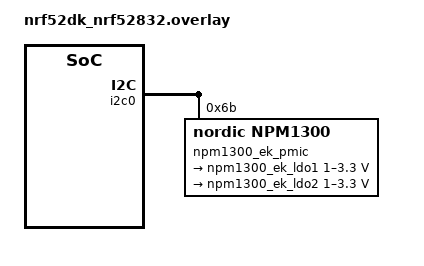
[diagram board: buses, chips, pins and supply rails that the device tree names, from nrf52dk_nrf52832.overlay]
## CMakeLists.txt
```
# Copyright (c) 2023 Nordic Semiconductor ASA
# SPDX-License-Identifier: LicenseRef-Nordic-5-Clause

cmake_minimum_required(VERSION 3.20.0)

list(APPEND BOARD_ROOT ${CMAKE_CURRENT_SOURCE_DIR})

set(SHIELD npm1300_ek)

find_package(Zephyr REQUIRED HINTS $ENV{ZEPHYR_BASE})

project(npm1300)

add_subdirectory(src)
```

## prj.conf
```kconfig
# Copyright (c) 2023 Nordic Semiconductor ASA
# SPDX-License-Identifier: LicenseRef-Nordic-5-Clause

CONFIG_SHELL=y
CONFIG_LOG=y
CONFIG_LOG_CMDS=y
CONFIG_GPIO=y
CONFIG_REGULATOR=y
CONFIG_SENSOR=y
CONFIG_I2C_SHELL=y
CONFIG_NRF_FUEL_GAUGE=y
CONFIG_REQUIRES_FLOAT_PRINTF=y
CONFIG_MAIN_STACK_SIZE=1536


CONFIG_CLOCK_CONTROL_NRF_K32SRC_RC=y



CONFIG_GPIO=y
CONFIG_I2C=y
CONFIG_USE_SEGGER_RTT=y
CONFIG_CONSOLE=y
CONFIG_PRINTK=y
CONFIG_LOG=y
CONFIG_PINCTRL=y
CONFIG_DK_LIBRARY=y



CONFIG_I2C=y
CONFIG_I2C_NRFX=y
```

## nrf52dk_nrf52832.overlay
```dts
/*
 * Copyright (c) 2023 Nordic Semiconductor ASA
 *
 * SPDX-License-Identifier: LicenseRef-Nordic-5-Clause
 */


// &i2c0_default {
// 	group1 {
// 		bias-pull-up;
// 	};
// };

// &npm1300_ek_pmic {
// 	host-int-gpios = <&gpio0 22 0>;
// 	pmic-int-pin = <3>;
// };


#include <dt-bindings/regulator/npm1300.h>
#include <zephyr/dt-bindings/input/input-event-codes.h>


&pinctrl {
    i2c0_default: i2c0_default {
        group1 {
            
            psels = <NRF_PSEL(TWIM_SDA, 0, 26)>, <NRF_PSEL(TWIM_SCL, 0, 27)>;
            bias-pull-up;
        };
    };

    i2c0_sleep: i2c0_sleep {
        group1 {
            
            psels = <NRF_PSEL(TWIM_SDA, 0, 26)>, <NRF_PSEL(TWIM_SCL, 0, 27)>;
            
            bias-pull-up;
        };
    };

};


/ {
    pwmleds {
        /delete-node/ pwm_led_0;
    };

    leds {
        /delete-node/ led_0;
        /delete-node/ led_1;
        /delete-node/ led_2;
        /delete-node/ led_3;
    };


    buttons {
        /delete-node/ button_0;
        /delete-node/ button_1;
        /delete-node/ button_2;
        /delete-node/ button_3;
    };

    aliases {
		/delete-property/ sw0;
        /delete-property/ sw1;
        /delete-property/ sw2;
        /delete-property/ sw3;
        /delete-property/ led0;
        /delete-property/ led1;
        /delete-property/ led2;
        /delete-property/ led3;
        /delete-property/ pwm-led0;
        /delete-property/ bootloader-led0;
        /delete-property/ mcuboot-button0;
        /delete-property/ mcuboot-led0;
        /delete-property/ spi-flash0;
        
    };

};

&spi1 {
	status = "disabled";
};

&spi2 {
	status = "disabled";
};


&i2c0 {
	npm1300_ek_pmic: pmic@6b {
		compatible = "nordic,npm1300";
		reg = <0x6b>;

		npm1300_ek_gpio: gpio-controller {
			compatible = "nordic,npm1300-gpio";
			gpio-controller;
			#gpio-cells = <2>;
			ngpios = <5>;
		};

		npm1300_ek_regulators: regulators {
			compatible = "nordic,npm1300-regulator";

			npm1300_ek_buck1: BUCK1 {
				// regulator-init-microvolt = <2700000>;
				regulator-init-microvolt= <3300000>;
			};

			npm1300_ek_buck2: BUCK2 {
				regulator-init-microvolt = <1800000>;
			};

			npm1300_ek_ldo1: LDO1 {
				regulator-min-microvolt = <1000000>;
				regulator-max-microvolt = <3300000>;
				regulator-initial-mode = <NPM1300_LDSW_MODE_LDO>;
				enable-gpios = <&npm1300_ek_gpio 2 GPIO_ACTIVE_LOW>;
			};

			npm1300_ek_ldo2: LDO2 {
				regulator-min-microvolt = <1000000>;
				regulator-max-microvolt = <3300000>;
				regulator-initial-mode = <NPM1300_LDSW_MODE_LDSW>;
				enable-gpios = <&npm1300_ek_gpio 2 GPIO_ACTIVE_LOW>;
			};
		};

		npm1300_ek_charger: charger {
			compatible = "nordic,npm1300-charger";
			term-microvolt = <4200000>;
			term-warm-microvolt = <4000000>;
			current-microamp = <150000>;
			dischg-limit-microamp = <1000000>;
			vbus-limit-microamp = <500000>;
			thermistor-ohms = <10000>;
			thermistor-beta = <3380>;
			charging-enable;
		};

		npm1300_ek_buttons: buttons {
			compatible = "gpio-keys";
			pmic_button0: pmic_button_0 {
				gpios = < &npm1300_ek_gpio 0 GPIO_ACTIVE_HIGH>;
				label = "Pmic button switch 0";
			zephyr,code = <INPUT_KEY_0>;
			};
		};

		npm1300_ek_leds: leds {
			compatible = "nordic,npm1300-led";
			nordic,led0-mode = "error";
			nordic,led1-mode = "charging";
			nordic,led2-mode = "host";
		};
	};
};
```

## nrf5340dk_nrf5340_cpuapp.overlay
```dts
/*
 * Copyright (c) 2023 Nordic Semiconductor ASA
 *
 * SPDX-License-Identifier: LicenseRef-Nordic-5-Clause
 */

// &i2c1_default {
// 	group1 {
// 		bias-pull-up;
// 	};
// };

// &npm1300_ek_pmic {
// 	host-int-gpios = <&gpio1 12 0>;
// 	pmic-int-pin = <3>;
// };

#include <dt-bindings/regulator/npm1300.h>
#include <zephyr/dt-bindings/input/input-event-codes.h>

/ {
    pwmleds {
        /delete-node/ pwm_led_0;
    };

    leds {
        /delete-node/ led_0;
        /delete-node/ led_1;
        /delete-node/ led_2;
        /delete-node/ led_3;
    };


    buttons {
        /delete-node/ button_0;
        /delete-node/ button_1;
        /delete-node/ button_2;
        /delete-node/ button_3;
    };

    aliases {
		/delete-property/ sw0;
        /delete-property/ sw1;
        /delete-property/ sw2;
        /delete-property/ sw3;
        /delete-property/ led0;
        /delete-property/ led1;
        /delete-property/ led2;
        /delete-property/ led3;
        /delete-property/ pwm-led0;
        /delete-property/ bootloader-led0;
        /delete-property/ mcuboot-button0;
        /delete-property/ mcuboot-led0;
        /delete-property/ spi-flash0;
        
    };

};

&uart0 {
    status = "disabled";
};

&qspi {
    status = "disabled";
};

&spi4 {
    status = "disabled";
};


&pinctrl {
    i2c1_default: i2c1_default {
        group1 {
            // psels = <NRF_PSEL(TWIM_SDA, 1, 2)>, <NRF_PSEL(TWIM_SCL, 1, 3)>;
            psels = <NRF_PSEL(TWIM_SDA, 1, 4)>, <NRF_PSEL(TWIM_SCL, 1, 5)>;
            bias-pull-up;
        };
    };

    i2c1_sleep: i2c1_sleep {
        group1 {
            // psels = <NRF_PSEL(TWIM_SDA, 1, 2)>, <NRF_PSEL(TWIM_SCL, 1, 3)>;
            psels = <NRF_PSEL(TWIM_SDA, 1, 4)>, <NRF_PSEL(TWIM_SCL, 1, 5)>;
            
            bias-pull-up;
        };
    };

};


&i2c1 {
    status = "okay";
    compatible = "nordic,nrf-twim";
    clock-frequency = <I2C_BITRATE_FAST>;
    pinctrl-0 = <&i2c1_default>;
    pinctrl-1 = <&i2c1_sleep>;
    pinctrl-names = "default", "sleep";

    npm1300_ek_pmic: pmic@6b {
        compatible = "nordic,npm1300";
        reg = <0x6b>;
        host-int-gpios = <&gpio0 22 0>;
        pmic-int-pin = <3>;

        npm1300_ek_gpio: gpio-controller {
            compatible = "nordic,npm1300-gpio";
            gpio-controller;
            #gpio-cells = <2>;
            ngpios = <5>;
        };

        npm1300_ek_regulators: regulators {
            compatible = "nordic,npm1300-regulator";
            dvs-gpios = <&gpio0 17 GPIO_ACTIVE_LOW>,
                        <&gpio0 18 GPIO_ACTIVE_LOW>;

            npm1300_ek_buck1: BUCK1 {
                regulator-init-microvolt = <2400000>;
                // regulator-min-microvolt = <1800000>;
                // regulator-max-microvolt = <3300000>;
            };

            npm1300_ek_buck2: BUCK2 {
                // regulator-init-microvolt = <1800000>;
                // retention-microvolt = <2500000>;
                regulator-min-microvolt = <1000000>;
                regulator-max-microvolt = <3300000>;
                regulator-init-microvolt = <2400000>;
                regulator-always-on;
                regulator-boot-on;
                enable-gpios = <&npm1300_ek_gpio 1 GPIO_ACTIVE_LOW>;
                retention-gpios = <&npm1300_ek_gpio 2 GPIO_ACTIVE_HIGH>;
                pwm-gpios = <&npm1300_ek_gpio 2 GPIO_ACTIVE_LOW>;
                // regulator-always-on;
                // regulator-boot-on;
            };

            npm1300_ek_ldo1: LDO1 {
                // regulator-min-microvolt = <1000000>;
                // regulator-max-microvolt = <3300000>;
                regulator-initial-mode = <NPM1300_LDSW_MODE_LDO>;
                enable-gpios = <&npm1300_ek_gpio 2 GPIO_ACTIVE_LOW>;
            };

            npm1300_ek_ldo2: LDO2 {
                // regulator-min-microvolt = <1000000>;
                // regulator-max-microvolt = <3300000>;
                regulator-min-microvolt = <1800000>;
                regulator-max-microvolt = <3300000>;
                regulator-init-microvolt = <1800000>;
                // regulator-initial-mode = <NPM1300_LDSW_MODE_LDSW>;
                regulator-initial-mode = <NPM1300_LDSW_MODE_LDO>;
                enable-gpios = <&npm1300_ek_gpio 2 GPIO_ACTIVE_LOW>;
                regulator-always-on;
                regulator-boot-on;
            };
        };

        npm1300_ek_charger: charger {
            compatible = "nordic,npm1300-charger";
            // term-microvolt = <4150000>;
            term-microvolt = <4200000>;
            term-warm-microvolt = <4000000>;
            // current-microamp = <150000>;
            // current-microamp = <120000>;
            current-microamp = <400000>;
            dischg-limit-microamp = <1000000>;
            // dischg-limit-microamp = <600000>;
            vbus-limit-microamp = <500000>;
            thermistor-ohms = <10000>;
            thermistor-beta = <3380>;
            charging-enable;
            vbatlow-charge-enable;
        };

        npm1300_ek_buttons: buttons {
            compatible = "gpio-keys";
            pmic_button0: pmic_button_0 {
                gpios = <&npm1300_ek_gpio 0 GPIO_ACTIVE_HIGH>;
                label = "Pmic button switch 0";
                zephyr,code = <INPUT_KEY_0>;
            };
        };

        npm1300_ek_leds: leds {
            compatible = "nordic,npm1300-led";
            nordic,led0-mode = "error";
            nordic,led1-mode = "charging";
            nordic,led2-mode = "host";
        };

    };
};
```

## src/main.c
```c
/*
 * Copyright (c) 2023 Nordic Semiconductor ASA
 * SPDX-License-Identifier: LicenseRef-Nordic-5-Clause
 */

#include <stdlib.h>

#include <zephyr/kernel.h>
#include <zephyr/device.h>
#include <zephyr/drivers/gpio.h>
#include <zephyr/drivers/mfd/npm1300.h>
#include <zephyr/drivers/sensor.h>
#include <zephyr/drivers/regulator.h>
#include <zephyr/sys/printk.h>

#include "fuel_gauge.h"

#define SLEEP_TIME_MS 1000

#define SHIP_BASE 0x0BU
#define SHIP_OFFSET_CFGSTROBE 0x01U
#define SHIP_OFFSET_CONFIG 0x04U
#define TASKENTERSHIPMODE 0x02U

static const struct device *pmic = DEVICE_DT_GET(DT_NODELABEL(npm1300_ek_pmic));
static const struct device *charger = DEVICE_DT_GET(DT_NODELABEL(npm1300_ek_charger));
static const struct device *regulators = DEVICE_DT_GET(DT_NODELABEL(npm1300_ek_regulators));
static volatile bool vbus_connected;

static void event_callback(const struct device *dev, struct gpio_callback *cb, uint32_t pins)
{
	static int press_t;

	if (pins & BIT(NPM1300_EVENT_VBUS_DETECTED))
	{
		printk("Vbus connected\n");
		vbus_connected = true;
	}

	if (pins & BIT(NPM1300_EVENT_VBUS_REMOVED))
	{
		printk("Vbus removed\n");
		vbus_connected = false;
	}
	// if (press_t == PRESS_MEDIUM_MS)
	// {
	// 	struct sensor_value value;
	// 	int ret;

	// 	// Convert to microamps and set the value
	// 	value.val1 = 1;
	// 	value.val2 = 0;

	// 	ret = sensor_attr_set(charger, SENSOR_CHAN_GAUGE_DESIRED_CHARGING_CURRENT,
	// 						  SENSOR_ATTR_CONFIGURATION, &value);

	// 	if (ret < 0)
	// 	{
	// 		return ret;
	// 		printk("Charging current enabled\n");
	// 	}
	// 	if (vbus_connected)
	// 	{
	// 		printk("USB connected\n");
	// 	}
	// 	else
	// 	{
	// 		regulator_enable(regulators);
	// 	}
	// }
	if (pins & BIT(NPM1300_EVENT_SHIPHOLD_PRESS))
	{
		press_t = k_uptime_get();
	}

	if (pins & BIT(NPM1300_EVENT_SHIPHOLD_RELEASE))
	{
		press_t = k_uptime_get() - press_t;
		// regulator_enable(regulators);
	}

	if (press_t > 3000)
		regulator_enable(regulators);
}

int main(void)
{
	int err;

	if (!device_is_ready(pmic))
	{
		printk("Pmic device not ready.\n");
		return 0;
	}

	if (!device_is_ready(charger))
	{
		printk("Charger device not ready.\n");
		return 0;
	}
	if (!device_is_ready(regulators))
	{
		printk("Regulator device not ready.\n");
		return false;
	}

	if (fuel_gauge_init(charger) < 0)
	{
		printk("Could not initialise fuel gauge.\n");
		return 0;
	}

	static struct gpio_callback event_cb;

	gpio_init_callback(&event_cb, event_callback,
					   BIT(NPM1300_EVENT_VBUS_DETECTED) |
						   BIT(NPM1300_EVENT_VBUS_REMOVED) | BIT(NPM1300_EVENT_SHIPHOLD_PRESS) | BIT(NPM1300_EVENT_SHIPHOLD_RELEASE));

	err = mfd_npm1300_add_callback(pmic, &event_cb);
	if (err)
	{
		printk("Failed to add pmic callback.\n");
		return 0;
	}

	/* Initialise vbus detection status. */
	struct sensor_value val;
	int ret = sensor_attr_get(charger, SENSOR_CHAN_CURRENT, SENSOR_ATTR_UPPER_THRESH, &val);

	if (ret < 0)
	{
		return false;
	}

	vbus_connected = (val.val1 != 0) || (val.val2 != 0);

	printk("vbus connected %d", vbus_connected);

	printk("PMIC device ok\n");
	struct sensor_value value;
	// int current_ma = 200; // Set to 0 to disable charging

	value.val1 = 1; // Millions part
	value.val2 = 0;

	ret = sensor_attr_set(charger, SENSOR_CHAN_GAUGE_DESIRED_CHARGING_CURRENT,
						  SENSOR_ATTR_CONFIGURATION, &value);

	// // value.val1 = current_ma/4;
	// // value.val2 = current_ma%2==0 ? 0 : 1;
	// value.val1 = 2; // Millions part
	// value.val2 = 0;
	// ret = sensor_attr_set(charger, SENSOR_CHAN_CURRENT,
	// 					  SENSOR_ATTR_CONFIGURATION, &value);

	// if (ret < 0)
	// {
	// 	printk("Failed to set VBUS current limit (%d mA)\n", current_ma);
	// 	return ret;
	// }
	mfd_npm1300_reg_write(pmic, SHIP_BASE, SHIP_OFFSET_CFGSTROBE, 1U);
	// const struct mfd_npm1300_config *config = pmic->config;

	ret = mfd_npm1300_reg_write(pmic, SHIP_BASE, SHIP_OFFSET_CONFIG, 7);
	if (ret < 0)
	{
		return ret;
	}

	// npm1300_enter_ship_mode(*pmic,0);

	uint8_t c = 0;

	while (1)

	{
		c++;
		fuel_gauge_update(charger, vbus_connected);
		k_msleep(SLEEP_TIME_MS);

		printk("c++ %d", c);

		if (c == 10)
		{

			// Convert to microamps and set the value
			value.val1 = 0;
			value.val2 = 0;

			ret = sensor_attr_set(charger, SENSOR_CHAN_GAUGE_DESIRED_CHARGING_CURRENT,
								  SENSOR_ATTR_CONFIGURATION, &value);

			if (ret < 0)
			{
				printk("Failed to disable chrager\n");
				return ret;
			}
			printk("Charging current disabled\n");
			if (vbus_connected)
			{
				printk("Ship mode entry not possible with USB connected\n");
			}
			else
			{
				ret = mfd_npm1300_reg_write(pmic, SHIP_BASE, TASKENTERSHIPMODE, 0x01);
				if (ret < 0)
					printk("cannot enter ship mode %d", ret);
				else
					printk("sship mode %d", ret);
			}
		}
	}
}
```

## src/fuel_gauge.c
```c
/*
 * Copyright (c) 2023 Nordic Semiconductor ASA
 * SPDX-License-Identifier: LicenseRef-Nordic-5-Clause
 */

#include <stdlib.h>

#include <zephyr/kernel.h>
#include <zephyr/device.h>
#include <zephyr/drivers/sensor.h>
#include <zephyr/drivers/sensor/npm1300_charger.h>
#include <zephyr/drivers/mfd/npm1300.h>
#include <zephyr/sys/printk.h>
#include <zephyr/sys/util.h>

#include "nrf_fuel_gauge.h"


#define SHIP_BASE 0x0BU
#define SHIP_OFFSET_HIBERNATE 0x00U

/* nPM1300 CHARGER.BCHGCHARGESTATUS.CONSTANTCURRENT register bitmask */
#define NPM1300_CHG_STATUS_CC_MASK BIT(3)

#define MAX_CHG_CURRENT_MA 200

static float max_charge_current;
static float term_charge_current;
static int64_t ref_time;

static const struct battery_model battery_model = {
#include "battery_model.inc"
};





// int npm1300_enter_ship_mode(const struct device *dev, uint32_t time_ms)
// {
//     int ret = 0;
    
//     if (dev == NULL) {
//         return -EINVAL;
//     }
    
//     /* If a wake-up timer is requested, configure it first */
//     if (time_ms > 0) {
//         ret = mfd_npm1300_set_timer(dev, time_ms);
//         if (ret != 0) {
//             printk("Failed to set timer for Ship mode: %d\n", ret);
//             return ret;
//         }
//     }
    
//     /* Enter Ship mode */
//     ret = mfd_npm1300_reg_write(dev, SHIP_BASE, SHIP_OFFSET_HIBERNATE, 1U);
//     if (ret != 0) {
//         printk("Failed to enter Ship mode: %d\n", ret);
//         return ret;
//     }
    
//     return 0;
// }

// int mfd_npm1300_hibernate(const struct device *dev, uint32_t time_ms)
// {
	

	

// 	return mfd_npm1300_reg_write(dev, SHIP_BASE, SHIP_OFFSET_HIBERNATE, 1U);
// }

// int set_charge_current(const struct device *charger, int current_ma)
// {
// 	struct sensor_value value;
// 	int ret;

// 	if (current_ma > MAX_CHG_CURRENT_MA)
// 	{
// 		current_ma = MAX_CHG_CURRENT_MA;
// 	}

// 	// Convert to microamps and set the value
// 	value.val1 = 0;
// 	value.val2 = 0;

// 	ret = sensor_attr_set(charger, SENSOR_CHAN_GAUGE_DESIRED_CHARGING_CURRENT,
// 						  SENSOR_ATTR_CONFIGURATION, &value);

// 	if (ret < 0)
// 	{
// 		printk("Failed to disable chrager\n");
// 		return ret;
// 	}
// 	printk("Charging current disabled\n");
// 	// k_msleep(5000);

// 	// value.val1 = current_ma/4;
// 	// value.val2 = current_ma%2==0 ? 0 : 1;
// 	value.val1 = current_ma / 1000; // Millions part
// 	value.val2 = (current_ma % 1000) * 1000;
// 	ret = sensor_attr_set(charger, SENSOR_CHAN_CURRENT,
// 						  SENSOR_ATTR_CONFIGURATION, &value);

// 	if (ret < 0)
// 	{
// 		printk("Failed to set VBUS current limit (%d mA)\n", current_ma);
// 		return ret;
// 	}

// 	value.val1 = 1;
// 	value.val2 = 0;

// 	ret = sensor_attr_set(charger, SENSOR_CHAN_GAUGE_DESIRED_CHARGING_CURRENT,
// 						  SENSOR_ATTR_CONFIGURATION, &value);

// 	if (ret < 0)
// 		return ret;

// 	printk("Requested VBUS current limit: %d mA\n", current_ma);

// 	/* 4) Read back VBUS limit active flag */
// 	struct sensor_value lim;
// 	ret = sensor_attr_get(charger,
// 						  SENSOR_CHAN_GAUGE_DESIRED_CHARGING_CURRENT,
// 						  SENSOR_ATTR_CONFIGURATION,
// 						  &lim);
// 	if (ret == 0)
// 	{
// 		printk("VBUS current-limit active? %s\n",
// 			   lim.val1 ? "yes" : "no");
// 	}

// 	return ret;
// }

static int read_sensors(const struct device *charger,
						float *voltage, float *current, float *temp, int32_t *chg_status)
{
	struct sensor_value value;
	int ret;

	ret = sensor_sample_fetch(charger);
	if (ret < 0)
	{
		return ret;
	}

	sensor_channel_get(charger, SENSOR_CHAN_GAUGE_VOLTAGE, &value);
	*voltage = (float)value.val1 + ((float)value.val2 / 1000000);

	sensor_channel_get(charger, SENSOR_CHAN_GAUGE_TEMP, &value);
	*temp = (float)value.val1 + ((float)value.val2 / 1000000);

	sensor_channel_get(charger, SENSOR_CHAN_GAUGE_AVG_CURRENT, &value);
	*current = (float)value.val1 + ((float)value.val2 / 1000000);

	sensor_channel_get(charger, SENSOR_CHAN_NPM1300_CHARGER_STATUS, &value);
	*chg_status = value.val1;

	return 0;
}

int fuel_gauge_init(const struct device *charger)
{
	struct sensor_value value;
	struct nrf_fuel_gauge_init_parameters parameters = {
		.model = &battery_model,
		.opt_params = NULL,
	};
	int32_t chg_status;
	int ret;

	printk("nRF Fuel Gauge version: %s\n", nrf_fuel_gauge_version);

	ret = read_sensors(charger, &parameters.v0, &parameters.i0, &parameters.t0, &chg_status);
	if (ret < 0)
	{
		return ret;
	}

	/* Store charge nominal and termination current, needed for ttf calculation */
	sensor_channel_get(charger, SENSOR_CHAN_GAUGE_DESIRED_CHARGING_CURRENT, &value);
	max_charge_current = (float)value.val1 + ((float)value.val2 / 1000000);
	term_charge_current = max_charge_current / 10.f;

	nrf_fuel_gauge_init(&parameters, NULL);
//	set_charge_current(charger, MAX_CHG_CURRENT_MA);

	ref_time = k_uptime_get();

	return 0;
}

int fuel_gauge_update(const struct device *charger, bool vbus_connected)
{
	float voltage;
	float current;
	float temp;
	float soc;
	float tte;
	float ttf;
	float delta;
	int32_t chg_status;
	bool cc_charging;
	int ret;

	ret = read_sensors(charger, &voltage, &current, &temp, &chg_status);
	if (ret < 0)
	{
		printk("Error: Could not read from charger device\n");
		return ret;
	}

	cc_charging = (chg_status & NPM1300_CHG_STATUS_CC_MASK) != 0;
	if (chg_status)
	{
		printk("Charging: Yes\n");
	}
	else
	{
		printk("Charging: No\n");
	}

	delta = (float)k_uptime_delta(&ref_time) / 1000.f;

	soc = nrf_fuel_gauge_process(voltage, current, temp, delta, vbus_connected, NULL);
	tte = nrf_fuel_gauge_tte_get();
	ttf = nrf_fuel_gauge_ttf_get(cc_charging, -term_charge_current);

	printk("V: %.3f, I: %.3f, T: %.2f, ", (double)voltage, (double)current, (double)temp);
	printk("SoC: %.2f, TTE: %.0f, TTF: %.0f\n", (double)soc, (double)tte, (double)ttf);

	return 0;
}
```

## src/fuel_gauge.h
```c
/*
 * Copyright (c) 2023 Nordic Semiconductor ASA
 * SPDX-License-Identifier: LicenseRef-Nordic-5-Clause
 */

#ifndef __FUEL_GAUGE_H__
#define __FUEL_GAUGE_H__

int fuel_gauge_init(const struct device *charger);

int fuel_gauge_update(const struct device *charger, bool vbus_connected);

int npm1300_enter_ship_mode(const struct device *dev, uint32_t time_ms);
#endif /* __FUEL_GAUGE_H__ */
```
